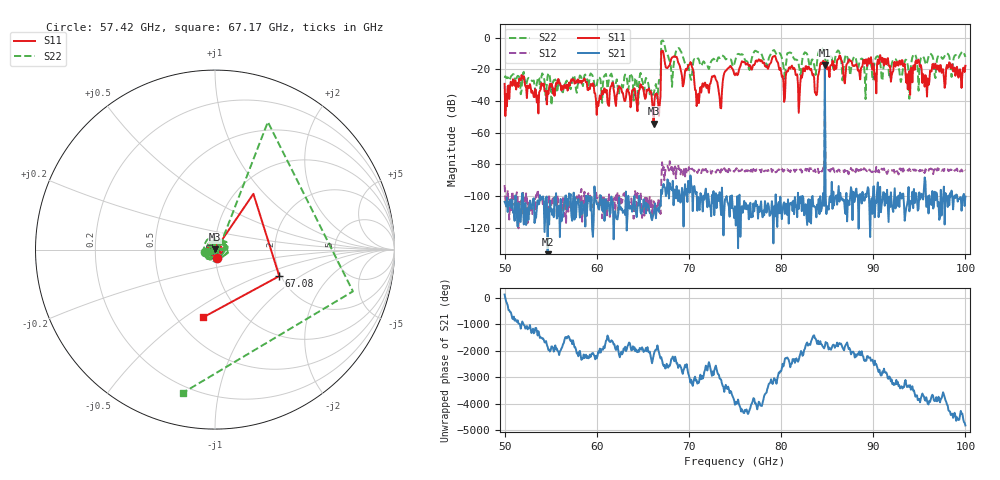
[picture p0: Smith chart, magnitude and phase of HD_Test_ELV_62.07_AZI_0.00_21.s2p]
! 11/25/2026 9:18:06 AM
! C:\ANRITSUVNA\TEMP\TEMP.S2P
! CHANNEL.1
! TR.MEASUREMENT
! RAW.DATA
# HZ S RI R 50.0
! FREQ.HZ  S11RE  S11IM  S21RE  S21IM  S12RE  S12IM  S22RE  S22IM
!; PortSelection: Port_12
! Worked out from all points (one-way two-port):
!   601 points, 50 GHz to 100 GHz, reference 50 ohm
!   highest |S21| = -17.19 dB at 84.75 GHz (marker M1); lowest = -137.0 dB at 54.67 GHz (marker M2)
!   lowest |S11| = -54.3 dB at 66.17 GHz (marker M3), VSWR 1.00, Z = 50.1 + j0.153 ohm
!   |S11| at or under -10 dB: start of sweep to 67 GHz; 67.24 GHz to end of sweep
!   |S22| runs from -42.6 to -1.8 dB; largest |S21 - S12| = 0.13
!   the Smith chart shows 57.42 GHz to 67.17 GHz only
!   S11 on the Smith chart (normalised r, x): 57.42 GHz: 1.02, -0.09; 67.08 GHz: 1.96, -0.68; 67.17 GHz: 0.67, -0.59
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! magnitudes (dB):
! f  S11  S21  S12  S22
! 50 GHz  -29.2  -103.8  -93.2  -25.3
! 54.67 GHz  -33.6  -137.0  -108.2  -24.3
! 57.42 GHz  -26.3  -104.1  -105.2  -25.2
! 58.42 GHz  -27.2  -111.4  -116.3  -29.0
! 60.17 GHz  -43.1  -107.9  -102.1  -24.8
! 61.67 GHz  -28.7  -103.6  -105.7  -24.5
! 66.17 GHz  -54.3  -111.5  -103.4  -35.4
! 66.67 GHz  -41.9  -107.5  -103.5  -32.1
! 67.08 GHz  -8.2  -98.8  -78.7  -1.9
! 67.17 GHz  -8.3  -94.1  -83.3  -1.8
! 70.17 GHz  -15.5  -87.1  -83.0  -25.7
! 70.92 GHz  -40.7  -109.4  -85.5  -13.3
! 75 GHz  -23.7  -106.6  -83.8  -15.0
! 79.25 GHz  -11.8  -106.6  -83.0  -7.9
! 80.25 GHz  -27.6  -105.1  -84.6  -17.7
! 83.42 GHz  -23.8  -100.0  -82.5  -13.8
! 84.75 GHz  -18.6  -17.2  -38.0  -11.6
! 91.67 GHz  -16.7  -116.5  -83.7  -20.5
! 93.75 GHz  -32.7  -102.8  -83.8  -17.3
! 94.83 GHz  -15.0  -109.3  -82.8  -20.3
! 95.83 GHz  -37.2  -107.0  -83.5  -15.9
! 100 GHz  -17.7  -100.4  -83.9  -12.2
